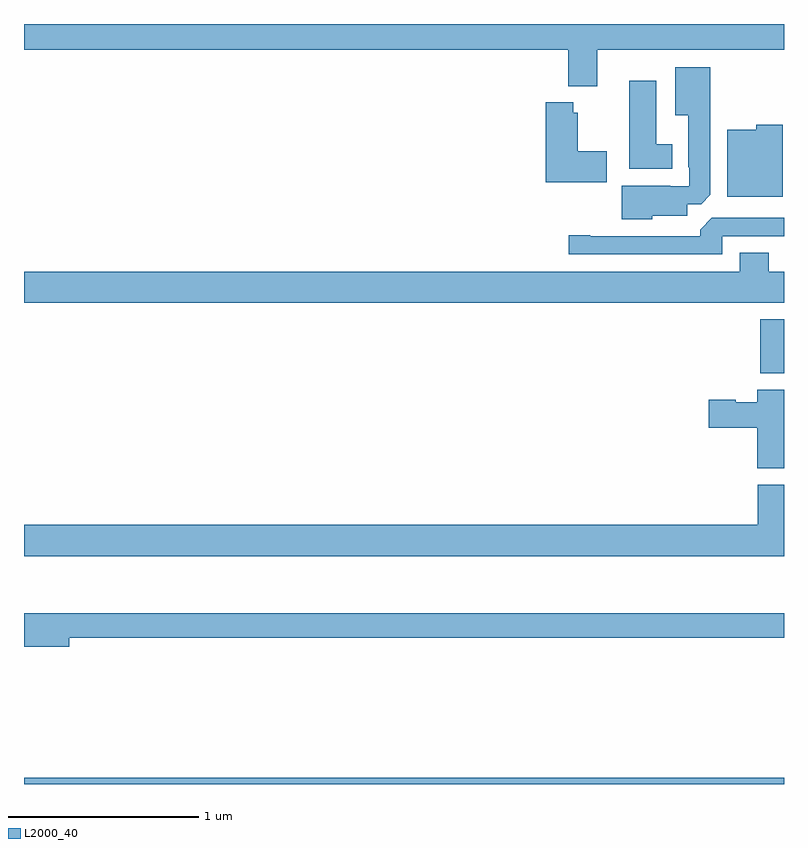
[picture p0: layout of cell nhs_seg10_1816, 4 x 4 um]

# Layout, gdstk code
import gdstk
lib = gdstk.Library(unit=1e-6, precision=1e-09)
def R(c, l, rs):  # rectangles x0, y0, x1, y1
    for r in rs: c.add(gdstk.rectangle(r[:2], r[2:], *l))
def P(c, l, *ps):  # polygons
    for p in ps: c.add(gdstk.Polygon(p, *l))
L2000_40 = (2000, 40)

nhs_seg10_1816 = lib.new_cell('nhs_seg10_1816')
R(nhs_seg10_1816, L2000_40, [(207,1248.5,211,1248.532), (210.875,1250.661,211,1250.947)])
P(nhs_seg10_1816, L2000_40, [(210.016,1252.364),(211,1252.364),(211,1252.5),(207,1252.5),(207,1252.364),(209.864,1252.364),(209.864,1252.172),(210.016,1252.172)],
  [(210.306,1251.491),(210.49,1251.491),(210.49,1251.552),(210.564,1251.552),(210.613,1251.601),(210.613,1252.273),(210.428,1252.273),(210.428,1252.019),(210.497,1252.019),(210.497,1251.745),(210.501,1251.745),(210.501,1251.645),(210.401,1251.645),(210.401,1251.649),(210.146,1251.649),(210.146,1251.473),(210.306,1251.473)],
  [(210.412,1251.868),(210.328,1251.868),(210.328,1252.201),(210.185,1252.201),(210.185,1251.737),(210.412,1251.737)],
  [(210.067,1251.831),(209.914,1251.831),(209.914,1252.033),(209.892,1252.033),(209.892,1252.087),(209.747,1252.087),(209.747,1251.668),(210.067,1251.668)],
  [(210.994,1251.97),(210.855,1251.97),(210.855,1251.943),(210.701,1251.943),(210.701,1251.59),(210.994,1251.59)],
  [(210.675,1251.384),(211,1251.384),(211,1251.48),(210.621,1251.48),(210.56,1251.418),(210.56,1251.384),(209.98,1251.384),(209.98,1251.389),(209.868,1251.389),(209.868,1251.288),(210.675,1251.288)],
  [(211,1251.196),(210.92,1251.196),(210.92,1251.295),(210.767,1251.295),(210.767,1251.196),(207,1251.196),(207,1251.032),(211,1251.032)],
  [(211,1250.576),(210.86,1250.576),(210.86,1250.509),(210.746,1250.509),(210.746,1250.522),(210.603,1250.522),(210.603,1250.375),(210.86,1250.375),(210.86,1250.161),(211,1250.161)],
  [(211,1250.076),(210.863,1250.076),(210.863,1249.864),(207,1249.864),(207,1249.7),(211,1249.7)],
  [(207.238,1249.27),(211,1249.27),(211,1249.399),(207,1249.399),(207,1249.223),(207.238,1249.223)])

lib.write_gds('nhs_seg10_1816.gds')
